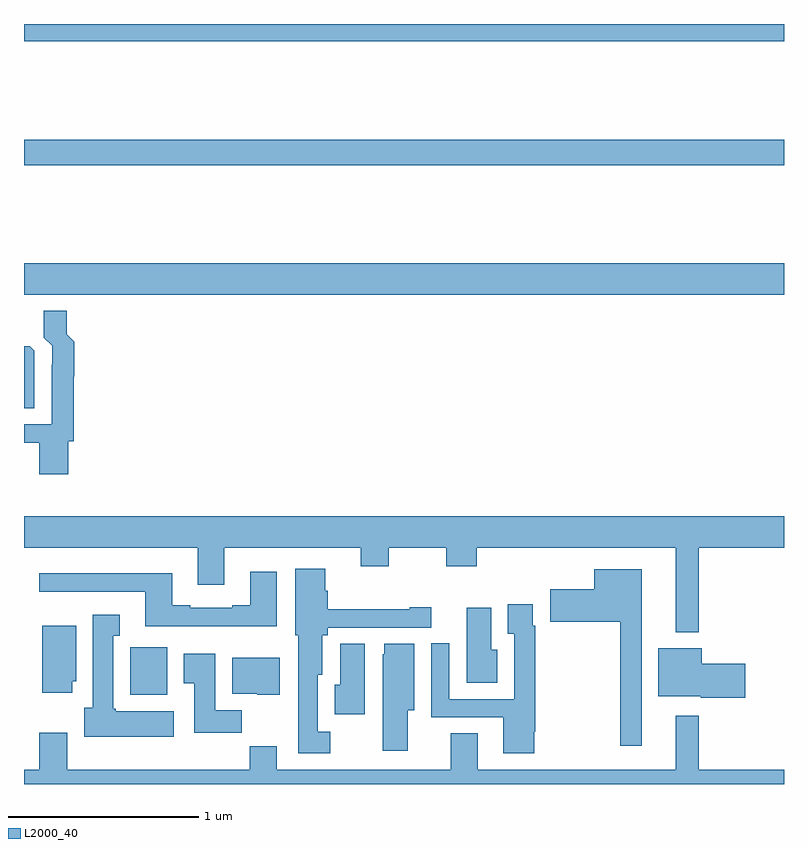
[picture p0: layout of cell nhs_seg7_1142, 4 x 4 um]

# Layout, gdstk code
import gdstk
lib = gdstk.Library(unit=1e-6, precision=1e-09)
def R(c, l, rs):  # rectangles x0, y0, x1, y1
    for r in rs: c.add(gdstk.rectangle(r[:2], r[2:], *l))
def P(c, l, *ps):  # polygons
    for p in ps: c.add(gdstk.Polygon(p, *l))
L2000_40 = (2000, 40)

nhs_seg7_1142 = lib.new_cell('nhs_seg7_1142')
R(nhs_seg7_1142, L2000_40, [(191.559,1038.47,191.755,1038.72), (191,1040.576,195,1040.74), (191,1041.256,195,1041.392), (191,1041.908,195,1042)])
P(nhs_seg7_1142, L2000_40, [(191.234,1039.803),(191.261,1039.803),(191.261,1040.146),(191.264,1040.146),(191.264,1040.328),(191.225,1040.367),(191.225,1040.491),(191.105,1040.491),(191.105,1040.35),(191.148,1040.307),(191.148,1040.207),(191.145,1040.207),(191.145,1039.893),(191,1039.893),(191,1039.796),(191.081,1039.796),(191.081,1039.629),(191.234,1039.629)],
  [(191.055,1040.28),(191.031,1040.304),(191,1040.304),(191,1039.978),(191.055,1039.978)],
  [(194.551,1039.244),(195,1039.244),(195,1039.408),(191,1039.408),(191,1039.244),(191.915,1039.244),(191.915,1039.05),(192.055,1039.05),(192.055,1039.244),(192.773,1039.244),(192.773,1039.145),(192.921,1039.145),(192.921,1039.244),(193.222,1039.244),(193.222,1039.145),(193.382,1039.145),(193.382,1039.244),(194.429,1039.244),(194.429,1038.8),(194.551,1038.8)],
  [(192.613,1038.274),(192.547,1038.274),(192.547,1038.576),(192.571,1038.576),(192.571,1038.783),(192.598,1038.783),(192.598,1038.822),(193.143,1038.822),(193.143,1038.93),(193.031,1038.93),(193.031,1038.921),(192.599,1038.921),(192.599,1039.017),(192.586,1039.017),(192.586,1039.132),(192.428,1039.132),(192.428,1038.783),(192.443,1038.783),(192.443,1038.161),(192.613,1038.161)],
  [(194.251,1039.129),(194,1039.129),(194,1039.024),(193.77,1039.024),(193.77,1038.853),(194.137,1038.853),(194.137,1038.201),(194.251,1038.201)],
  [(192.331,1039.117),(192.191,1039.117),(192.191,1038.94),(192.095,1038.94),(192.095,1038.927),(191.875,1038.927),(191.875,1038.94),(191.779,1038.94),(191.779,1039.108),(191.079,1039.108),(191.079,1039.011),(191.639,1039.011),(191.639,1038.83),(192.331,1038.83)],
  [(193.686,1038.274),(193.69,1038.274),(193.69,1038.833),(193.677,1038.833),(193.677,1038.946),(193.547,1038.946),(193.547,1038.79),(193.581,1038.79),(193.581,1038.447),(193.239,1038.447),(193.239,1038.741),(193.143,1038.741),(193.143,1038.351),(193.523,1038.351),(193.523,1038.162),(193.686,1038.162)],
  [(193.492,1038.706),(193.459,1038.706),(193.459,1038.928),(193.331,1038.928),(193.331,1038.532),(193.492,1038.532)],
  [(191.788,1038.382),(191.484,1038.382),(191.484,1038.396),(191.47,1038.396),(191.47,1038.779),(191.503,1038.779),(191.503,1038.892),(191.363,1038.892),(191.363,1038.402),(191.318,1038.402),(191.318,1038.248),(191.788,1038.248)],
  [(191.254,1038.54),(191.275,1038.54),(191.275,1038.832),(191.096,1038.832),(191.096,1038.48),(191.254,1038.48)],
  [(193.021,1038.389),(193.054,1038.389),(193.054,1038.737),(192.896,1038.737),(192.896,1038.684),(192.887,1038.684),(192.887,1038.174),(193.021,1038.174)],
  [(192.793,1038.737),(192.665,1038.737),(192.665,1038.522),(192.635,1038.522),(192.635,1038.366),(192.793,1038.366)],
  [(194.797,1038.632),(194.566,1038.632),(194.566,1038.715),(194.339,1038.715),(194.339,1038.461),(194.562,1038.461),(194.562,1038.454),(194.797,1038.454)],
  [(192.146,1038.388),(192.007,1038.388),(192.007,1038.685),(191.84,1038.685),(191.84,1038.529),(191.897,1038.529),(191.897,1038.27),(192.146,1038.27)],
  [(192.346,1038.664),(192.095,1038.664),(192.095,1038.476),(192.228,1038.476),(192.228,1038.47),(192.346,1038.47)],
  [(195,1038.076),(194.551,1038.076),(194.551,1038.358),(194.429,1038.358),(194.429,1038.076),(193.387,1038.076),(193.387,1038.266),(193.247,1038.266),(193.247,1038.076),(192.331,1038.076),(192.331,1038.2),(192.187,1038.2),(192.187,1038.076),(191.227,1038.076),(191.227,1038.271),(191.08,1038.271),(191.08,1038.076),(191,1038.076),(191,1038),(195,1038)])

lib.write_gds('nhs_seg7_1142.gds')
